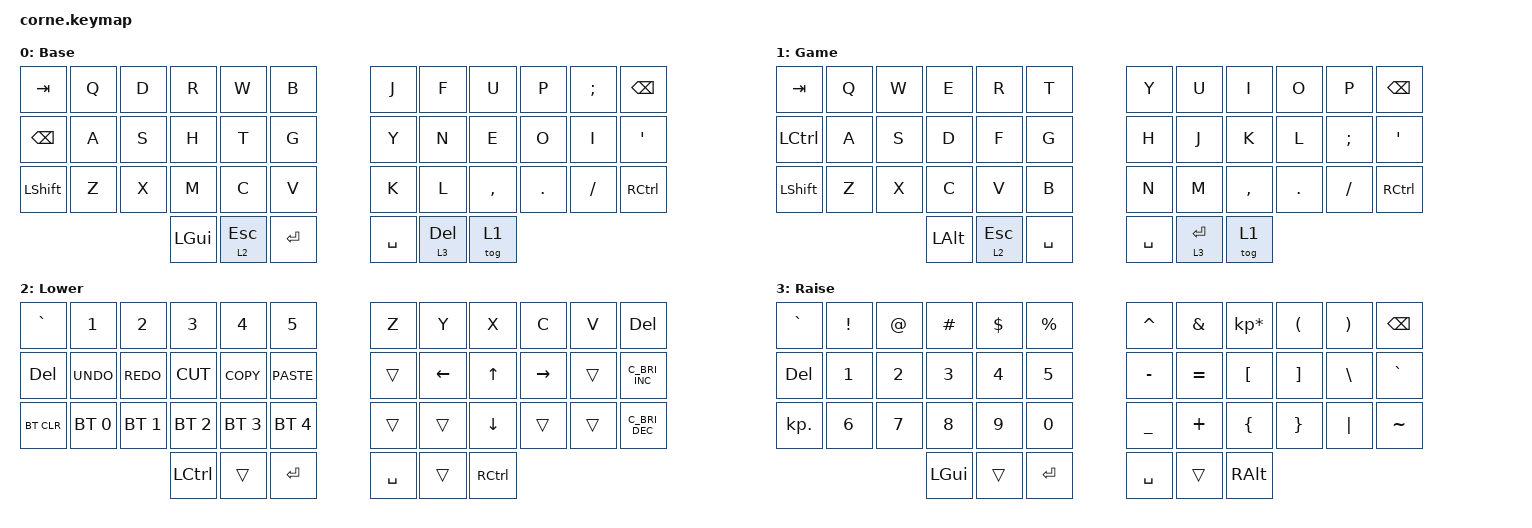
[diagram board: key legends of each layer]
/*
 * Copyright (c) 2020 The ZMK Contributors
 *
 * SPDX-License-Identifier: MIT
 */

#include <behaviors.dtsi>
#include <dt-bindings/zmk/keys.h>
#include <dt-bindings/zmk/bt.h>

/ {
        keymap {
                compatible = "zmk,keymap";

                default_layer {
// -----------------------------------------------------------------------------------------
// | TAB  |  Q  |  D  |  R  |  W  |  B  |   |  J  |  F   |  U  |  P  |  ;  | BKSP |
// | BKSP |  A  |  S  |  H  |  T  |  G  |   |  Y  |  N   |  E  |  O  |  I  |  '   |
// | SHFT |  Z  |  X  |  M  |  C  |  V  |   |  K  |  L   |  ,  |  .  |  /  | CTRL |
//                    | GUI | LWR ESC | ENT |   | SPC | RSE   | ALT |
                        label = "Base";
                        bindings = <
   &kp TAB   &kp Q &kp D &kp R &kp W &kp B   &kp J &kp F  &kp U     &kp P   &kp SEMI &kp BKSP
   &kp BSPC  &kp A &kp S &kp H &kp T &kp G   &kp Y &kp N  &kp E     &kp O   &kp I    &kp SQT
   &kp LSHFT &kp Z &kp X &kp M &kp C &kp V   &kp K &kp L  &kp COMMA &kp DOT &kp FSLH &kp RCTRL
                  &kp LGUI &lt 2 ESC &kp RET &kp SPACE &lt 3 DEL &tog 1
                        >;
                };

		game_layer {
// -----------------------------------------------------------------------------------------
// |  TAB |  Q  |  W  |  E  |  R  |  T  |   |  Y  |  U   |  I  |  O  |  P  | DEL  |
// | CTRL |  A  |  S  |  D  |  F  |  G  |   |  H  |  J   |  K  |  L  |  ;  |  '   |
// | SHFT |  Z  |  X  |  C  |  V  |  B  |   |  N  |  M   |  ,  |  .  |  /  | CTRL |
//                    | ALT | LWR ESC | SPC |   | SPC | RSE ENT | 1 |
                        label = "Game";
                        bindings = <
   &kp TAB   &kp Q &kp W &kp E &kp R &kp T   &kp Y &kp U  &kp I     &kp O   &kp P    &kp BSPC
   &kp LCTRL &kp A &kp S &kp D &kp F &kp G   &kp H &kp J  &kp K     &kp L   &kp SEMI &kp SQT
   &kp LSHFT &kp Z &kp X &kp C &kp V &kp B   &kp N &kp M  &kp COMMA &kp DOT &kp FSLH &kp RCTRL
                  &kp LALT &lt 2 ESC &kp SPACE &kp SPACE &lt 3 RET &tog 1
                        >;
                };

                lower_layer {
// -----------------------------------------------------------------------------------------
// | GRAVE|  1  |  2  |  3  |  4  |  5  |   |  Z  |  Y  |  X  |  C  |  V  | DEL  |
// | DEL  | UNDO| REDO| CUT | COPY|PASTE|   |     | LFT |  UP | RGT |     |      |
// | BTCLR| BT1 | BT2 | BT3 | BT4 | BT5 |   |     |     | DWN |     |     |      |
//                    | CTRL|     | ENT |   | SPC |     | CTRL|
                        label = "Lower";
                        bindings = <
   &kp GRAVE  &kp N1       &kp N2       &kp N3       &kp N4       &kp N5         &kp Z    &kp Y    &kp X    &kp C     &kp V  &kp DEL
   &kp DEL    &kp K_UNDO   &kp K_REDO   &kp K_CUT    &kp K_COPY   &kp K_PASTE    &trans   &kp LEFT &kp UP   &kp RIGHT &trans &C_BRI_INC
   &bt BT_CLR &bt BT_SEL 0 &bt BT_SEL 1 &bt BT_SEL 2 &bt BT_SEL 3 &bt BT_SEL 4   &trans   &trans   &kp DOWN &trans    &trans &C_BRI_DEC
                          	        &kp LCTRL    &trans   &kp RET      &kp SPACE  &trans   &kp RCTRL
                        >;
                };

                raise_layer {
// -----------------------------------------------------------------------------------------
// | GRAVE|  !  |  @  |  #  |  $  |  %  |   |  ^  |  &  |  *  |  (  |  )  | BKSP |
// | DEL  |  1  |  2  |  3  |  4  |  5  |   |  -  |  =  |  [  |  ]  |  \  |  `   |
// |   .  |  6  |  7  |  8  |  9  |  0  |   |  _  |  +  |  {  |  }  | "|" |  ~   |
//                    | GUI |     | ENT |   | SPC |     | ALT |
                        label = "Raise";
                        bindings = <
   &kp GRAVE  &kp EXCL &kp AT &kp HASH &kp DLLR &kp PRCNT   &kp CARET &kp AMPS  &kp KP_MULTIPLY &kp LPAR &kp RPAR &kp BSPC
   &kp DEL    &kp N1   &kp N2 &kp N3   &kp N4   &kp N5      &kp MINUS &kp EQUAL &kp LBKT        &kp RBKT &kp BSLH &kp GRAVE
   &kp KP_DOT &kp N6   &kp N7 &kp N8   &kp N9   &kp N0      &kp UNDER &kp PLUS  &kp LBRC        &kp RBRC &kp PIPE &kp TILDE
                    	     &kp LGUI  &trans   &kp RET     &kp SPACE  &trans    &kp RALT
                        >;
                };
        };
};
